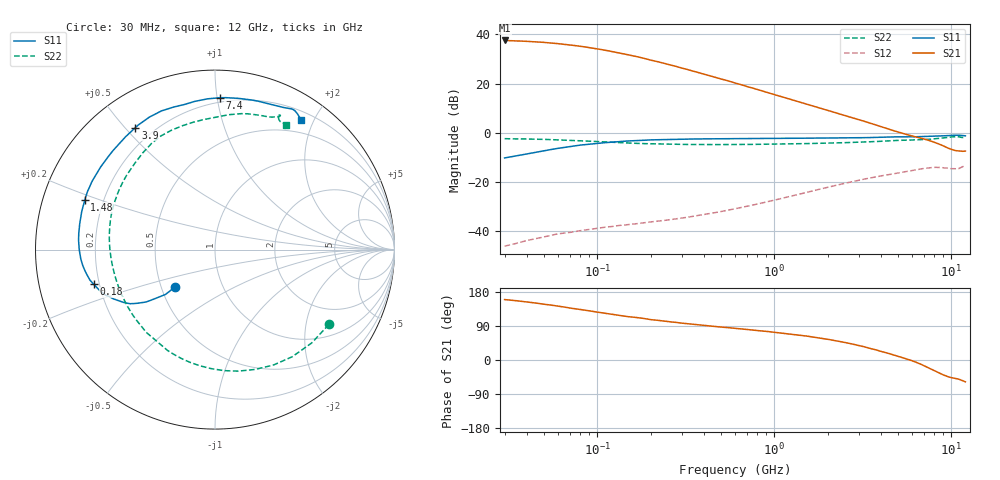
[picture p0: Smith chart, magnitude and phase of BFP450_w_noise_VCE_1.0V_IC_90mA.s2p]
! Infineon Technologies  Discrete & RF Semiconductors
! BFP450
! VCE =  1.0 V,  IC =  90 mA
! Common Emitter S-Parameters:  Nov 2015
# GHz  S  MA  R  50
!  f  S11  S21  S12  S22
! GHz  MAG  ANG  MAG  ANG  MAG  ANG  MAG  ANG
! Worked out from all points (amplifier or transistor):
!   239 points, 30 MHz to 12 GHz, reference 50 ohm
!   highest |S21| = 37.5 dB at 30 MHz (marker M1)
!   |S21| within 3 dB of that: start of sweep to 92.07 MHz
!   unconditionally stable (mu >= 1): 836.8 MHz to end of sweep
!   at 300 MHz: K = 0.72, MSG = 30.4 dB, |S12| = -34.6 dB
!   at 1.88 GHz: K = 1.09, MAG = 14.3 dB, |S12| = -22.6 dB
!   at 12 GHz: K = 1.08, MAG = 1.2 dB, |S12| = -13.3 dB
!   lowest NFmin = 2.02 dB at 450 MHz
!   S11 on the Smith chart (normalised r, x): 30 MHz: 0.59, -0.27; 180 MHz: 0.18, -0.14; 1.48 GHz: 0.13, +0.18; 3.9 GHz: 0.13, +0.53; 7.4 GHz: 0.17, +1.02; 12 GHz: 0.31, +1.82
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0.03  0.3085 -137.0  74.73 159.5  0.005 77.4  0.7594 -33.3
0.04  0.3716 -137.8  71.76 153.2  0.0065 71.9  0.749 -44.0
0.05  0.433 -140.7  68.27 147.2  0.0077 66.4  0.7359 -54.2
0.06  0.4832 -142.8  64.4 142.3  0.0089 64.0  0.7208 -63.2
0.07  0.525 -145.3  60.6 137.2  0.0095 60.9  0.704 -71.5
0.085  0.5738 -148.7  55.3 131.6  0.0106 57.3  0.6817 -82.4
0.105  0.6186 -153.1  48.99 124.9  0.0118 53.9  0.6572 -94.7
0.13  0.6594 -157.3  42.38 118.4  0.013 51.3  0.635 -107.1
0.15  0.6827 -160.6  38.04 114.3  0.0137 50.7  0.6214 -115.0
0.18  0.7026 -164.1  33.05 110.1  0.0148 50.2  0.6034 -123.7
0.2  0.7173 -166.3  29.85 106.6  0.0155 49.9  0.5994 -129.7
0.24  0.7288 -169.4  25.54 102.5  0.0167 50.6  0.5885 -137.7
0.3  0.7422 -173.2  20.57 97.3  0.0186 52.0  0.5814 -147.1
0.36  0.7495 -176.0  17.26 93.6  0.0205 53.4  0.5778 -153.6
0.6  0.7619 176.1  10.23 83.4  0.0287 57.5  0.5779 -169.4
0.9  0.7672 169.5  6.672 75.5  0.0394 58.9  0.5857 -180.0
1.48  0.7767 159.1  3.925 63.9  0.0602 56.1  0.602 166.4
1.64  0.7792 156.5  3.524 61.0  0.0658 54.6  0.6067 163.3
3.9  0.8117 123.1  1.373 24.4  0.1308 28.6  0.6691 127.8
4.5  0.8236 116.4  1.161 16.2  0.143 22.4  0.6888 120.9
7.4  0.8464 88.3  0.707 -20.4  0.1937 -8.6  0.7342 91.1
12  0.8676 56.6  0.425 -57.6  0.2162 -42.9  0.8014 60.4
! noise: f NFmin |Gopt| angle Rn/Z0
0.45  2.02  0.62  -172  0.07
0.9  2.06  0.65  -166  0.08
1.9  2.17  0.67  -150  0.14
2.4  2.26  0.67  -140  0.21
